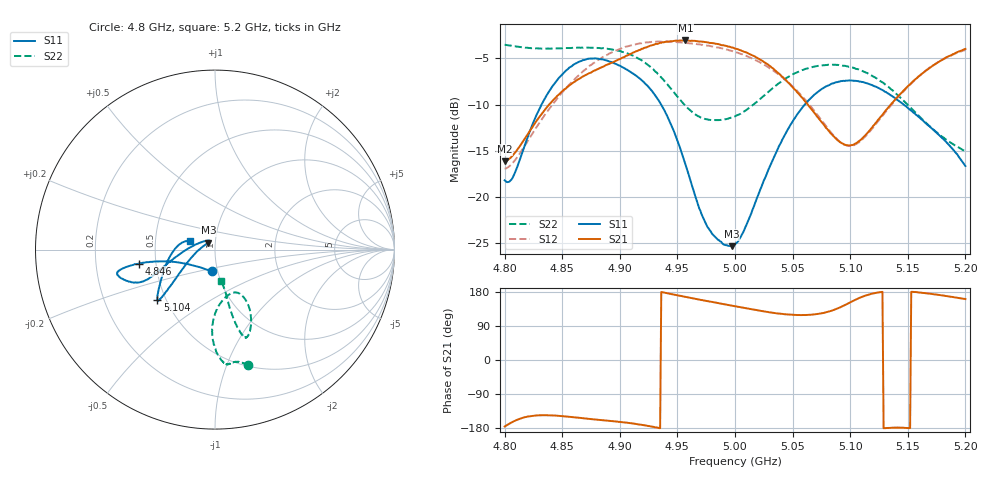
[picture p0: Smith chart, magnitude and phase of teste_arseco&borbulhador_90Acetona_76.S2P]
! Network Analyzer HP8722D
! Hewlett-Packard
! Data name: Linha & Wilkinson
! Saver's name: Rodrigo Anjos
! Comments: Teste da utilização de aquisição
! continua pelo VNA HP8722D
! Time and date: 17/4/2025 11:41
!  Frequency  S11  S21  S12  S22
# HZ  S  MA R 50
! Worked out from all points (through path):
!   401 points, 4.8 GHz to 5.2 GHz, reference 50 ohm
!   highest |S21| = -3.06 dB at 4.957 GHz (marker M1); lowest = -16.2 dB at 4.8 GHz (marker M2)
!   lowest |S11| = -25.3 dB at 4.997 GHz (marker M3), VSWR 1.11, Z = 46.3 + j3.64 ohm
!   |S11| at or under -10 dB: start of sweep to 4.832 GHz; 4.936 GHz to 5.061 GHz (124.8 MHz wide, 2.5 % of centre); 5.146 GHz to end of sweep
!   |S22| runs from -15.1 to -3.5 dB; largest |S21 - S12| = 0.86
!   S11 on the Smith chart (normalised r, x): 4.8 GHz: 0.93, -0.23; 4.846 GHz: 0.40, -0.08; 5.104 GHz: 0.45, -0.31; 5.2 GHz: 0.75, +0.07
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4.8e9  0.1229 -99.1  0.1557 -175.6  0.142 -121.2  0.668 -73.8
4.808e9  0.1309 -132.0  0.1705 -161.6  0.1551 -107.1  0.6546 -75.5
4.828e9  0.2804 -166.5  0.2594 -146.2  0.24 -89.5  0.6381 -79.1
4.846e9  0.4312 -169.5  0.3536 -147.1  0.3429 -87.5  0.6368 -81.2
4.867e9  0.5458 -167.7  0.4451 -153.4  0.4716 -91.6  0.6431 -83.2
4.883e9  0.5563 -164.6  0.4994 -158.3  0.5602 -97.1  0.6386 -84.8
4.902e9  0.5047 -159.2  0.5662 -164.0  0.6404 -104.7  0.6094 -87.1
4.934e9  0.3311 -159.5  0.6781 -179.5  0.6943 -119.1  0.4574 -92.1
4.945e9  0.2425 -166.9  0.6961 173.8  0.6927 -123.9  0.3811 -91.0
4.957e9  0.1497 177.8  0.703 166.6  0.6835 -129.3  0.3118 -85.9
4.976e9  0.06885 134.2  0.6865 155.5  0.658 -137.6  0.2628 -72.7
4.997e9  0.05406 133.5  0.6442 143.7  0.6176 -147.2  0.2689 -63.0
5e9  0.05528 141.1  0.6356 141.8  0.6098 -148.5  0.2726 -62.0
5.009e9  0.06853 164.0  0.6086 136.9  0.5837 -152.4  0.2927 -59.8
5.031e9  0.1495 -158.8  0.5074 125.5  0.4934 -161.2  0.3803 -59.7
5.049e9  0.2498 -145.3  0.3985 119.4  0.4008 -165.3  0.4565 -63.9
5.067e9  0.3488 -139.6  0.2951 119.9  0.3028 -164.6  0.5044 -67.9
5.09e9  0.4207 -137.9  0.2009 137.4  0.2013 -146.3  0.5174 -71.0
5.104e9  0.425 -139.0  0.1938 158.2  0.1915 -124.1  0.4969 -72.5
5.134e9  0.359 -148.4  0.3092 -179.0  0.3051 -97.8  0.3898 -75.1
5.163e9  0.2594 -169.8  0.4673 177.2  0.4687 -99.8  0.2615 -76.0
5.2e9  0.1468 160.7  0.6325 160.8  0.6257 -113.5  0.1766 -79.1
